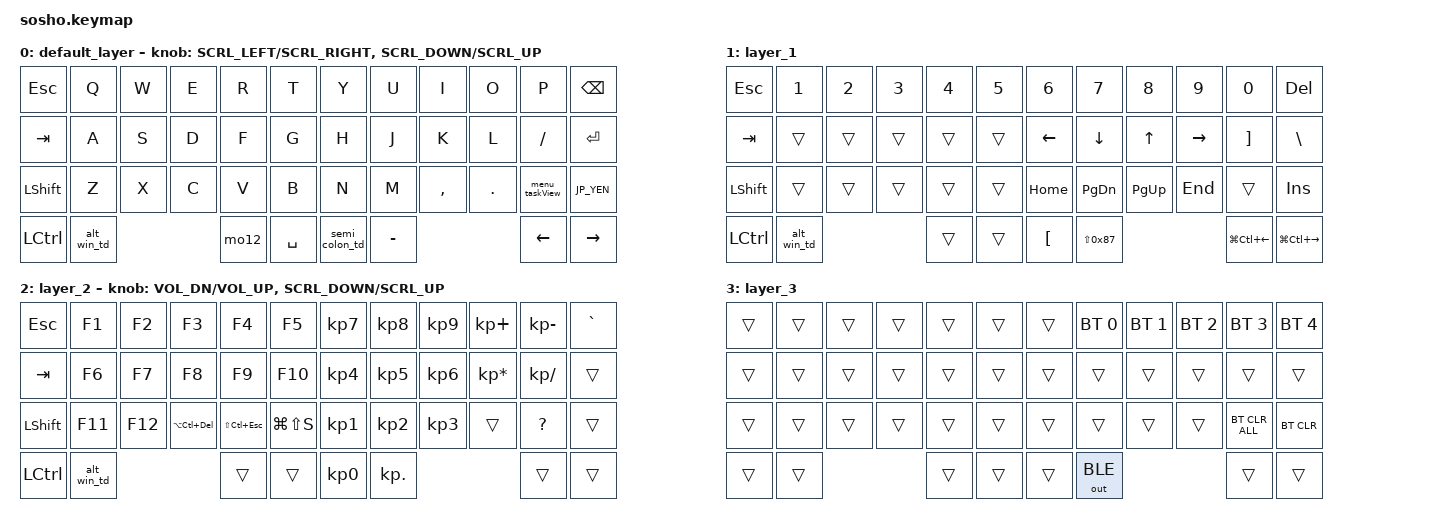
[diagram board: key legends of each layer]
//スクロール量の調整(デフォルト150)
#define ZMK_POINTING_DEFAULT_SCRL_VAL 150

// OS設定を日本語キーボードのまま使用するための変換定義
#define JP_DQUOTE       AT                // "
#define JP_AMPERSAND    CARET             // &
#define JP_QUOTE        AMPERSAND         // '
#define JP_EQUAL        UNDER             // =
#define JP_CARET        EQUAL             // ^
#define JP_YEN          0x89              // ¥
#define JP_PLUS         COLON             // +
#define JP_TILDE        PLUS              // ~
#define JP_PIPE         LS(0x89)          // |
#define JP_AT           LEFT_BRACKET      // @
#define JP_COLON        SINGLE_QUOTE      // :
#define JP_ASTERISK     DOUBLE_QUOTES     // *
#define JP_BACKQUOTE    LEFT_BRACE        // `
#define JP_UNDERSCORE   LS(0x87)          // _
#define JP_LBRACKET     RIGHT_BRACKET     // [
#define JP_RBRACKET     BACKSLASH         // ]
#define JP_LPAREN       ASTERISK          // (
#define JP_RPAREN       LEFT_PARENTHESIS  // )
#define JP_LBRACE       RIGHT_BRACE       // {
#define JP_RBRACE       PIPE              // }
#define JP_KANA         LANGUAGE_1        // かな
#define JP_EISU         LANGUAGE_2        // 英数
#define JP_HANZEN       GRAVE             // 半角/全角

//スクリーンショット(Win + Shift + S)
#define SC_GS_s LG(LS(S))
//タスクマネージャー(Ctrl + Shift + ESC)
#define SC_CS_esc LS(LC(ESC))
//ウインドウ起動(Ctrl + Shift + Delete)
#define SC_CS_del LA(LC(DEL))
//左のデスクトップへ移動
#define SC_GC_left LG(LC(LEFT))
//右のデスクトップへ移動
#define SC_GC_right LG(LC(RIGHT))

#include <behaviors.dtsi>
#include <dt-bindings/zmk/bt.h>
#include <dt-bindings/zmk/keys.h>
#include <dt-bindings/zmk/pointing.h>
#include <dt-bindings/zmk/outputs.h>

/ {
	behaviors {
        ec_ms_l: ec_ms_h {
            compatible = "zmk,behavior-encoder-mouse-scroll";
            #sensor-binding-cells = <2>;
        };
        ec_ms_r: ec_ms_v {
            compatible = "zmk,behavior-encoder-mouse-scroll";
            #sensor-binding-cells = <2>;
        };

        //1回タップの長押しで &mo 1、2回タップの長押しで &mo 2
        mo12: mo12 {
            compatible = "zmk,behavior-tap-dance";
            #binding-cells = <0>;
            tapping-term-ms = <250>;
            bindings = <&mo 1>, <&mo 2>;
        };

        // 1回タップ:
        //   通常      -> ;
        //   Shift中   -> +
        semi_plus: semi_plus {
            compatible = "zmk,behavior-mod-morph";
            #binding-cells = <0>;
            bindings = <&kp SEMICOLON>, <&kp JP_PLUS>;
            mods = <(MOD_LSFT | MOD_RSFT)>;
        };
        // 2回タップ:
        //   通常      -> :
        //   Shift中   -> *
        colon_star: colon_star {
            compatible = "zmk,behavior-mod-morph";
            #binding-cells = <0>;
            bindings = <&kp JP_COLON>, <&kp JP_ASTERISK>;
            mods = <(MOD_LSFT | MOD_RSFT)>;
        };

        // 1回タップ：ホールドで Layer 1、タップで ; / +
        semi_hold: semi_hold {
            compatible = "zmk,behavior-hold-tap";
            #binding-cells = <2>;
            flavor = "tap-preferred";
            tapping-term-ms = <250>;
            bindings = <&mo>, <&semi_plus>;
        };
        // 2回タップ：ホールドで Layer 2、タップで : / *
        colon_hold: colon_hold {
            compatible = "zmk,behavior-hold-tap";
            #binding-cells = <2>;
            flavor = "tap-preferred";
            tapping-term-ms = <250>;
            bindings = <&mo>, <&colon_star>;
        };

        // タップ回数で切り替え
        // 1回タップ：ホールドで Layer 1、タップで ; / +
        // 2回タップ：ホールドで Layer 2、タップで : / *
        semi_colon_td: semi_colon_td {
            compatible = "zmk,behavior-tap-dance";
            #binding-cells = <0>;
            tapping-term-ms = <200>;
            bindings = <&semi_hold 1 0>, <&colon_hold 2 0>;
        };

        // 1回タップ：ALTを長押し
        // 2回タップ：Windowsキーを長押し
        alt_win_td: alt_win_td {
            compatible = "zmk,behavior-tap-dance";
            #binding-cells = <0>;
            tapping-term-ms = <150>;
            bindings = <&kp LALT>, <&kp LGUI>;
        };

        // 1回タップ：右クリックメニュー呼び出し
        // 2回タップ：タスクビュー(win + tab)
        menu_taskView: menu_taskView {
            compatible = "zmk,behavior-tap-dance";
            #binding-cells = <0>;
            tapping-term-ms = <150>;
            bindings = <&kp K_APP>, <&kp LG(TAB)>;
        };
    };
};

//スクロールの調整
&msc {
    time-to-max-speed-ms = <0>;   // 即座に最大速度（加速なし）
    acceleration-exponent = <0>;   // 加速なし
};

/{
    combos {
        compatible = "zmk,combos";
        //-----------------------------------------------------
        // キーマップに対応する番号(キーではなくキーの配置で同時押しを判定している)
        //-----------------------------------------------------
        // [ 0] [ 1] [ 2] [ 3] [ 4] [ 5]   [ 6] [ 7] [ 8] [ 9] [10] [11]
        // [12] [13] [14] [15] [16] [17]   [18] [19] [20] [21] [22] [23]
        // [24] [25] [26] [27] [28] [29]   [30] [31] [32] [33] [34] [35]
        // [36] [37]           [38] [39]   [40] [41]           [42] [43]


        //-----------------------------------------------------
        // マウス関連のコンボ
        //-----------------------------------------------------
		//左クリックのコンボ 19はJのキー 20はKのキーに相当
	    combo_LCLK {
            timeout-ms = <50>;
            key-positions = <19 20>;
            bindings = <&mkp LCLK>;
            layers = <0 1>; //0番 1番レイヤーでのみ有効にする
        };
		//右クリックのコンボ 20はKのキー 21はLのキーに相当
        combo_RCLK {
            timeout-ms = <50>;
            key-positions = <20 21>;
            bindings = <&mkp RCLK>;
            layers = <0 1>; //0番 1番レイヤーでのみ有効にする
        };
		//ホイールクリックのコンボ 19はJのキー 21はLのキーに相当
	    combo_MCLK {
            timeout-ms = <90>;
            key-positions = <19 21>;
            bindings = <&mkp MCLK>;
            layers = <0 1>; //0番 1番レイヤーでのみ有効にする
        };
        //ボールスクロールのコンボ 21はLのキー 22は/のキーに相当
	    combo_BSCR {
            timeout-ms = <100>;
            key-positions = <21 22>;
            bindings = <&mo 3>; //3番レイヤーでボールスクロールを有効にしているのでレイヤー移動のみ
            layers = <0>; //0番レイヤーでのみ有効にする
        };

        //-----------------------------------------------------
        //0レイヤーのコンボ
        //-----------------------------------------------------
        //英数入力 14はS、15はDのキーに相当
	    combo_LANG2 {
            timeout-ms = <50>;
            key-positions = <14 15>;
            bindings = <&kp LANG2>;
            layers = <0>; //0番レイヤーでのみ有効にする
        };
        //かな入力 15はD、16はFのキー のキーに相当
	    combo_LANG1 {
            timeout-ms = <50>;
            key-positions = <15 16>;
            bindings = <&kp LANG1>;
            layers = <0>; //0番レイヤーでのみ有効にする
        };

        //3番レイヤー 38はMO1のキー 39はSpaceのキーに相当
	    combo_MO3 {
            timeout-ms = <50>;
            key-positions = <38 39>;
            bindings = <&mo 3>;
            layers = <0>; //0番レイヤーでのみ有効にする
        };

        //SPACEのコンボ 42はLEFTのキー 43はRIGHTのキーに相当
	    combo_SPACE {
            timeout-ms = <50>;
            key-positions = <42 43>;
            bindings = <&kp SPACE>;
            layers = <0>; //0番レイヤーでのみ有効にする
        };


        //-----------------------------------------------------
        //1レイヤーのコンボ
        //-----------------------------------------------------

    };
};

/{
keymap {
    compatible = "zmk,keymap";

    //デフォルトレイヤー アルファベットと修飾キーが主
    default_layer {
        bindings = <
            &kp ESC   &kp Q    &kp W  &kp E  &kp R  &kp T          &kp Y           &kp U  &kp I      &kp O    &kp P           &kp BSPC
            &kp TAB   &kp A    &kp S  &kp D  &kp F  &kp G          &kp H           &kp J  &kp K      &kp L    &kp SLASH       &kp ENTER
            &kp LSHFT &kp Z    &kp X  &kp C  &kp V  &kp B          &kp N           &kp M  &kp COMMA  &kp DOT  &menu_taskView  &kp JP_YEN
            &kp LCTRL &alt_win_td            &mo12  &kp SPACE      &semi_colon_td  &kp MINUS                  &kp LEFT        &kp RIGHT
        >;
		//&ec_ms_lとrは、上のビヘイビアで作ったもの。
        sensor-bindings = <&ec_ms_l SCRL_LEFT SCRL_RIGHT &ec_ms_r SCRL_DOWN SCRL_UP>;
    };

    //数字キー、矢印キー、その他のキー
    layer_1 {
        bindings = <
            &kp ESC   &kp N1   &kp N2  &kp N3  &kp N4  &kp N5      &kp N6    &kp N7    &kp N8    &kp N9    &kp N0          &kp DEL
            &kp TAB   &trans   &trans  &trans  &trans  &trans      &kp LEFT  &kp DOWN  &kp UP    &kp RIGHT &kp JP_LBRACKET &kp JP_RBRACKET
            &kp LSHFT &trans   &trans  &trans  &trans  &trans      &kp HOME  &kp PG_DN &kp PG_UP &kp END   &trans          &kp INS
            &kp LCTRL &alt_win_td              &trans  &trans      &kp JP_AT &kp JP_UNDERSCORE             &kp SC_GC_left  &kp SC_GC_right
        >;
    };

    //ファンクションキー、テンキー
    layer_2 {
        bindings = <
            &kp ESC   &kp F1   &kp F2  &kp F3         &kp F4         &kp F5           &kp KP_N7 &kp KP_N8 &kp KP_N9  &kp KP_PLUS     &kp KP_MINUS  &kp GRAVE
            &kp TAB   &kp F6   &kp F7  &kp F8         &kp F9         &kp F10          &kp KP_N4 &kp KP_N5 &kp KP_N6  &kp KP_MULTIPLY &kp KP_DIVIDE &trans
            &kp LSHFT &kp F11  &kp F12 &kp SC_CS_del  &kp SC_CS_esc  &kp SC_GS_s      &kp KP_N1 &kp KP_N2 &kp KP_N3  &trans          &kp QMARK     &trans
            &kp LCTRL &alt_win_td                     &trans         &trans           &kp KP_N0 &kp KP_DOT                           &trans        &trans
        >;
		//レイヤー2のときだけ、左手のエンコーダを回すとボリュームの上下ができるようになっています。
		sensor-bindings = <&inc_dec_kp C_VOL_DN C_VOL_UP &ec_ms_r SCRL_DOWN SCRL_UP>;

    };

    //Bluetooth設定・接続キー、ボールスクロール指定レイヤー
    layer_3 {
        bindings = <
            &trans &trans &trans &trans &trans &trans      &trans  &bt BT_SEL 0  &bt BT_SEL 1  &bt BT_SEL 2  &bt BT_SEL 3   &bt BT_SEL 4
            &trans &trans &trans &trans &trans &trans      &trans  &trans        &trans        &trans        &trans         &trans
            &trans &trans &trans &trans &trans &trans      &trans  &trans        &trans        &trans        &bt BT_CLR_ALL &bt BT_CLR
            &trans &trans               &trans &trans      &trans  &out OUT_BLE                              &trans         &trans
        >;
    };
    scroll {
        status = "reserved";
    };

    extra2 {
        status = "reserved";
    };
};
};
